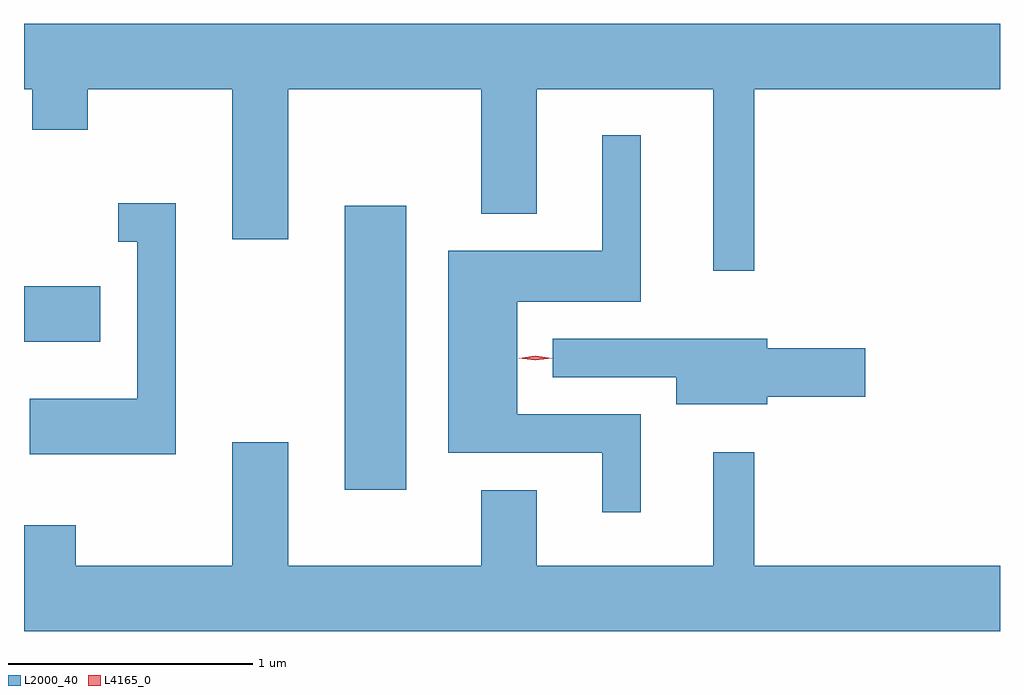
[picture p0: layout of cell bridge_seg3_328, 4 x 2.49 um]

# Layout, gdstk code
import gdstk
lib = gdstk.Library(unit=1e-6, precision=1e-09)
def R(c, l, rs):  # rectangles x0, y0, x1, y1
    for r in rs: c.add(gdstk.rectangle(r[:2], r[2:], *l))
def P(c, l, *ps):  # polygons
    for p in ps: c.add(gdstk.Polygon(p, *l))
L2000_40 = (2000, 40)
L4165_0 = (4165, 0)

bridge_seg3_328 = lib.new_cell('bridge_seg3_328')
R(bridge_seg3_328, L2000_40, [(526.781,1210.956,527.034,1212.119), (525.467,1211.561,525.779,1211.789)])
P(bridge_seg3_328, L2000_40, [(528.459,1212.596),(529.467,1212.596),(529.467,1212.864),(525.467,1212.864),(525.467,1212.596),(525.501,1212.596),(525.501,1212.431),(525.729,1212.431),(525.729,1212.596),(526.321,1212.596),(526.321,1211.981),(526.549,1211.981),(526.549,1212.596),(527.341,1212.596),(527.341,1212.086),(527.569,1212.086),(527.569,1212.596),(528.291,1212.596),(528.291,1211.853),(528.459,1211.853)],
  [(527.994,1211.264),(527.489,1211.264),(527.489,1211.726),(527.994,1211.726),(527.994,1212.408),(527.836,1212.408),(527.836,1211.934),(527.206,1211.934),(527.206,1211.106),(527.836,1211.106),(527.836,1210.863),(527.994,1210.863)],
  [(526.089,1212.129),(525.853,1212.129),(525.853,1211.971),(525.931,1211.971),(525.931,1211.329),(525.491,1211.329),(525.491,1211.101),(526.089,1211.101)],
  [(528.514,1211.336),(528.914,1211.336),(528.914,1211.534),(528.514,1211.534),(528.514,1211.574),(527.633,1211.574),(527.633,1211.416),(528.141,1211.416),(528.141,1211.306),(528.514,1211.306)],
  [(529.467,1210.644),(528.459,1210.644),(528.459,1211.108),(528.291,1211.108),(528.291,1210.644),(527.569,1210.644),(527.569,1210.954),(527.341,1210.954),(527.341,1210.644),(526.549,1210.644),(526.549,1211.149),(526.321,1211.149),(526.321,1210.644),(525.679,1210.644),(525.679,1210.809),(525.467,1210.809),(525.467,1210.376),(529.467,1210.376)])
P(bridge_seg3_328, L4165_0, [(527.562,1211.485),(527.494,1211.494),(527.493,1211.495),(527.494,1211.495),(527.562,1211.505),(527.631,1211.495),(527.631,1211.495),(527.631,1211.494)],
  [(527.563,1211.485),(527.498,1211.494),(527.498,1211.495),(527.498,1211.495),(527.563,1211.505),(527.627,1211.495),(527.628,1211.495),(527.627,1211.494)])

lib.write_gds('bridge_seg3_328.gds')
